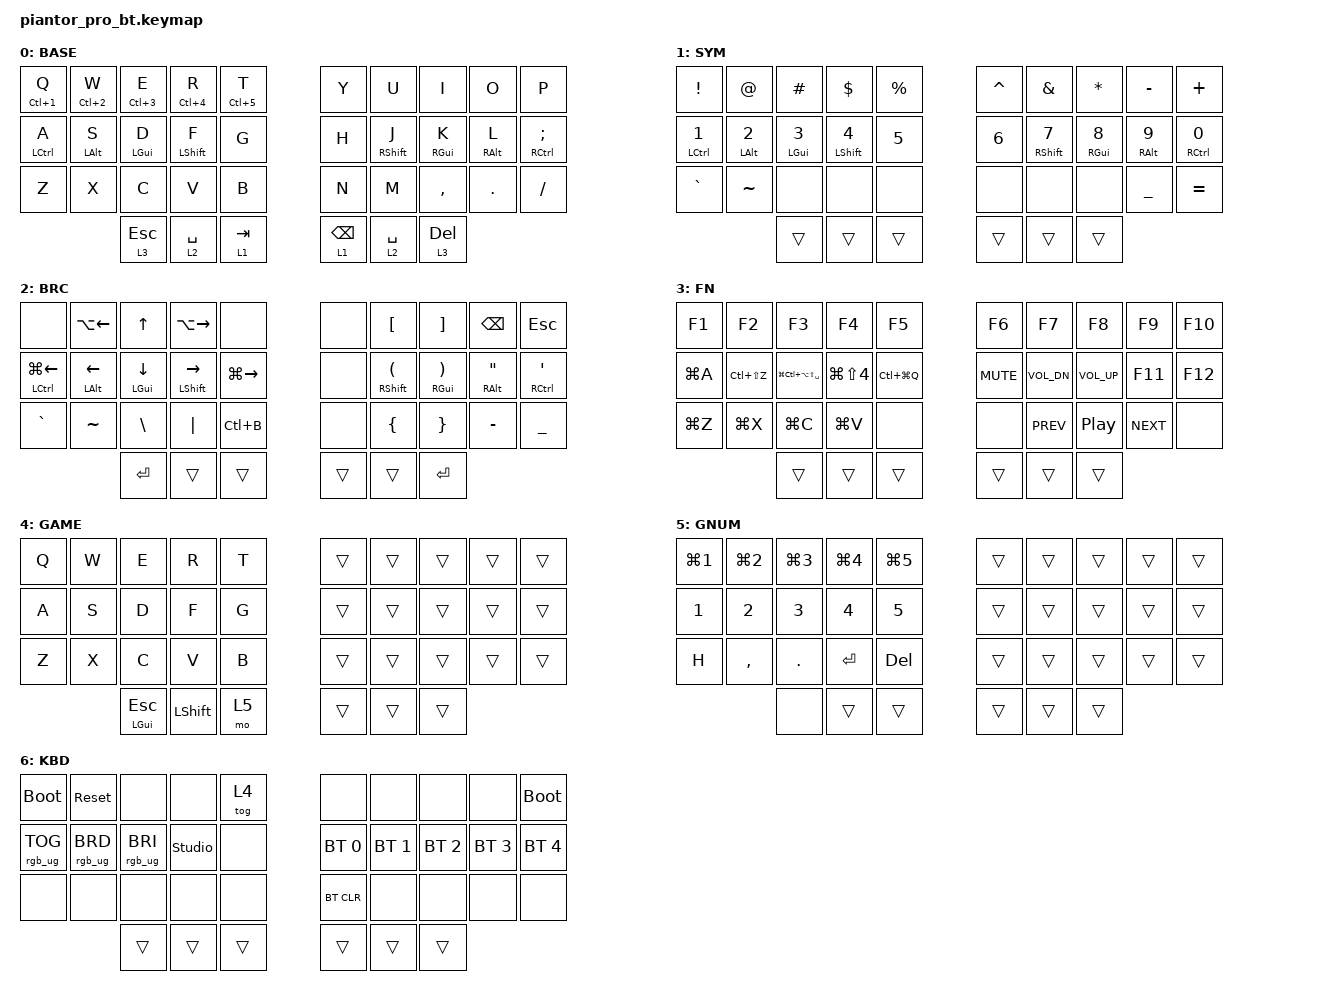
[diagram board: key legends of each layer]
/*
 * Piantor Pro BT (36-key) keymap.
 *
 * Replicates the user's kanata config: CACS home-row mods, a numbers/symbols
 * layer, a brackets/nav layer, plus thumb-enabled fn (F-keys/media/clipboard)
 * and kbd (BT/RGB/Studio/flash) layers. macOS modifiers (Cmd = LGUI).
 *
 * Uses the board's 36-key five_col_layout, so key positions are 0-35:
 *   row 0:  0- 4 left,  5- 9 right
 *   row 1: 10-14 left, 15-19 right
 *   row 2: 20-24 left, 25-29 right
 *   thumbs: 30 31 32 left, 33 34 35 right
 */

#include <behaviors.dtsi>
#include <dt-bindings/zmk/keys.h>
#include <dt-bindings/zmk/bt.h>
#include <dt-bindings/zmk/rgb.h>

// Positional hold-tap trigger lists: opposite hand + all thumbs.
#define KEYS_L 0 1 2 3 4 10 11 12 13 14 20 21 22 23 24
#define KEYS_R 5 6 7 8 9 15 16 17 18 19 25 26 27 28 29
#define THUMBS 30 31 32 33 34 35

/ {
    chosen {
        zmk,physical-layout = &five_col_layout;
    };

    behaviors {
        // Home-row mod, LEFT hand: hold = modifier, tap = letter.
        // Only triggers the hold if a RIGHT-hand or thumb key follows (positional),
        // which kills mis-holds during same-hand rolls. Replaces kanata's chord list.
        hml: home_row_mod_left {
            compatible = "zmk,behavior-hold-tap";
            #binding-cells = <2>;
            flavor = "balanced";
            tapping-term-ms = <200>;
            quick-tap-ms = <175>;
            require-prior-idle-ms = <150>;
            bindings = <&kp>, <&kp>;
            hold-trigger-key-positions = <KEYS_R THUMBS>;
            hold-trigger-on-release;
        };
        // Home-row mod, RIGHT hand: triggers only after a LEFT-hand or thumb key.
        hmr: home_row_mod_right {
            compatible = "zmk,behavior-hold-tap";
            #binding-cells = <2>;
            flavor = "balanced";
            tapping-term-ms = <200>;
            quick-tap-ms = <175>;
            require-prior-idle-ms = <150>;
            bindings = <&kp>, <&kp>;
            hold-trigger-key-positions = <KEYS_L THUMBS>;
            hold-trigger-on-release;
        };
        // Shift-only variants of hml/hmr, tuned from a USB-log session
        // (2026-09-16, ~120 F/J instances, see README "Debugging misfires"):
        //
        //  - The user's capital-I chord is F down, I down ~100-150 ms later,
        //    F up at ~170-240 ms, I up after F. Nested release almost never
        //    happens (3 of 36 successes), so the hold is decided by the timer.
        //    At 200 ms, 5 of 8 misses were F released at 170-200 ms. 175
        //    catches those; the user's overlapped "fi" rolls (file, fill,
        //    finger) release F at 115-160 ms, so they stay taps. Next knob if
        //    misses persist: 160.
        //  - No retro-tap (removed 2026-11-19): in ZMK v0.3 retro-tap withholds
        //    the hold at timeout until another KEY is pressed, so Shift never
        //    reached the host for Shift+scroll/click. Without it Shift lands
        //    at 175 ms like Cmd does at 200. Cost: a lone f/j held past 175 ms
        //    with no other key types nothing (log had lone f taps up to 200).
        //  - require-prior-idle off: 3 of 8 misses were F pressed <70 ms after
        //    a backspace/space (quick-tap verdict). The user's cross-hand rolls
        //    never nest the letter inside F, so the guard bought nothing here.
        //  - hold-preferred would fix every chord but also capitalise every
        //    overlapped roll (8 for 8 in the log): same event sequence.
        hsl: home_row_shift_left {
            compatible = "zmk,behavior-hold-tap";
            #binding-cells = <2>;
            flavor = "balanced";
            tapping-term-ms = <175>;
            quick-tap-ms = <175>;
            bindings = <&kp>, <&kp>;
            hold-trigger-key-positions = <KEYS_R THUMBS>;
            hold-trigger-on-release;
        };
        hsr: home_row_shift_right {
            compatible = "zmk,behavior-hold-tap";
            #binding-cells = <2>;
            flavor = "balanced";
            tapping-term-ms = <175>;
            quick-tap-ms = <175>;
            bindings = <&kp>, <&kp>;
            hold-trigger-key-positions = <KEYS_L THUMBS>;
            hold-trigger-on-release;
        };
        // Layer thumbs (all six): hold = layer, tap = key. Replaces stock &lt,
        // which is tap-preferred: the layer only activated after 200 ms, so a
        // quick SPACE+; for an apostrophe typed " ;". Balanced like the
        // home-row mods: the layer also wins when another key is pressed AND
        // released while the thumb is still down. Cost: a letter fully nested
        // inside a space press now lands on BRC (1 in 268 spaces in the
        // 2026-09-16 log). No positional filter: layers are used from both hands.
        lth: layer_thumb {
            compatible = "zmk,behavior-hold-tap";
            #binding-cells = <2>;
            flavor = "balanced";
            tapping-term-ms = <200>;
            bindings = <&mo>, <&kp>;
        };
        // Desktop switch on top row: tap = letter, hold = Ctrl+number.
        // Standalone hold (no second key needed), so no positional restriction;
        // tap-preferred favors the letter on quick taps.
        //
        // Tuned to be hard to trigger by accident:
        //   tapping-term-ms = 280   -> must deliberately hold ~0.28s before the
        //                              desktop switch fires (was 200, too twitchy).
        //   require-prior-idle-ms = 250 -> if any key was pressed within 0.25s,
        //                              this key resolves as a TAP (types the letter)
        //                              instead of switching. So pressing two keys
        //                              together / fast rolls just print letters and
        //                              never jump desktops — the disruptive case.
        hd: hold_desktop {
            compatible = "zmk,behavior-hold-tap";
            #binding-cells = <2>;
            flavor = "tap-preferred";
            tapping-term-ms = <280>;
            require-prior-idle-ms = <250>;
            bindings = <&kp>, <&kp>;
        };
    };

    combos {
        compatible = "zmk,combos";
        // Squeeze both outer thumbs (esc + del) -> kbd layer (6).
        // Also live on GAME (4) so the toggle back out is reachable.
        combo_kbd {
            timeout-ms = <40>;
            require-prior-idle-ms = <150>;
            key-positions = <30 35>;
            bindings = <&mo 6>;
            layers = <0 4>;
        };
    };

    keymap {
        compatible = "zmk,keymap";

        base_layer {
            display-name = "BASE";
            bindings = <
                &hd LC(N1) Q  &hd LC(N2) W  &hd LC(N3) E  &hd LC(N4) R  &hd LC(N5) T      &kp Y      &kp U         &kp I         &kp O        &kp P
                &hml LCTRL A  &hml LALT S   &hml LGUI D   &hsl LSHFT F  &kp G             &kp H      &hsr RSHFT J  &hmr RGUI K   &hmr RALT L  &hmr RCTRL SEMI
                &kp Z         &kp X         &kp C         &kp V         &kp B             &kp N      &kp M         &kp COMMA     &kp DOT      &kp FSLH
                                            &lth 3 ESC     &lth 2 SPACE   &lth 1 TAB         &lth 1 BSPC &lth 2 SPACE   &lth 3 DEL
            >;
        };

        sym_layer {
            display-name = "SYM";
            bindings = <
                &kp EXCL         &kp AT          &kp HASH        &kp DLLR         &kp PRCNT   &kp CARET  &kp AMPS         &kp ASTRK        &kp MINUS        &kp PLUS
                &hml LCTRL N1    &hml LALT N2    &hml LGUI N3    &hsl LSHFT N4    &kp N5      &kp N6     &hsr RSHFT N7    &hmr RGUI N8     &hmr RALT N9     &hmr RCTRL N0
                &kp GRAVE        &kp TILDE       &none           &none            &none       &none      &none            &none            &kp UNDER        &kp EQUAL
                                                 &trans          &trans           &trans      &trans     &trans           &trans
            >;
        };

        brc_layer {
            display-name = "BRC";
            // Outer thumbs both send enter, so enter is reachable from either hand.
            bindings = <
                &none               &kp LA(LEFT)   &kp UP          &kp LA(RIGHT)     &none          &none   &kp LBKT         &kp RBKT        &kp BSPC       &kp ESC
                &hml LCTRL LG(LEFT) &hml LALT LEFT  &hml LGUI DOWN  &hsl LSHFT RIGHT  &kp LG(RIGHT)  &none   &hsr RSHFT LPAR  &hmr RGUI RPAR  &hmr RALT DQT  &hmr RCTRL SQT
                &kp GRAVE           &kp TILDE      &kp BSLH        &kp PIPE          &kp LC(B)      &none   &kp LBRC         &kp RBRC        &kp MINUS      &kp UNDER
                                                   &kp RET         &trans            &trans         &trans  &trans           &kp RET
            >;
        };

        fn_layer {
            display-name = "FN";
            bindings = <
                &kp F1     &kp F2     &kp F3     &kp F4     &kp F5      &kp F6        &kp F7        &kp F8       &kp F9   &kp F10
                &kp LG(A)  &kp LC(LS(Z))  &kp LG(LC(LA(LS(SPACE))))  &kp LG(LS(N4))  &kp LC(LG(Q))  &kp C_MUTE    &kp C_VOL_DN  &kp C_VOL_UP  &kp F11  &kp F12
                &kp LG(Z)  &kp LG(X)  &kp LG(C)  &kp LG(V)  &none       &none         &kp C_PREV    &kp C_PP     &kp C_NEXT  &none
                                      &trans     &trans     &trans      &trans        &trans        &trans
            >;
        };

        // Toggled from KBD (T position). Left hand for an RTS (AoE2), right
        // hand on the mouse. Plain keys: no hold-tap latency, no desktop
        // switch on held letters. Right half falls through to base.
        game_layer {
            display-name = "GAME";
            bindings = <
                &kp Q  &kp W  &kp E  &kp R  &kp T      &trans  &trans  &trans  &trans  &trans
                &kp A  &kp S  &kp D  &kp F  &kp G      &trans  &trans  &trans  &trans  &trans
                &kp Z  &kp X  &kp C  &kp V  &kp B      &trans  &trans  &trans  &trans  &trans
                       &mt LGUI ESC  &kp LSHFT  &mo 5      &trans  &trans  &trans
            >;
        };

        // Held from GAME's inner thumb: top = assign control group, home =
        // select group, bottom = town center / idle units / enter / delete
        // (del on the index stretch so it is hard to hit by accident).
        gnum_layer {
            display-name = "GNUM";
            bindings = <
                &kp LG(N1)  &kp LG(N2)  &kp LG(N3)  &kp LG(N4)  &kp LG(N5)      &trans  &trans  &trans  &trans  &trans
                &kp N1      &kp N2      &kp N3      &kp N4      &kp N5          &trans  &trans  &trans  &trans  &trans
                &kp H       &kp COMMA   &kp DOT     &kp RET     &kp DEL         &trans  &trans  &trans  &trans  &trans
                                        &none       &trans      &trans          &trans  &trans  &trans
            >;
        };

        kbd_layer {
            display-name = "KBD";
            bindings = <
                &bootloader      &sys_reset       &none            &none           &tog 4  &none         &none         &none         &none         &bootloader
                &rgb_ug RGB_TOG  &rgb_ug RGB_BRD  &rgb_ug RGB_BRI  &studio_unlock  &none   &bt BT_SEL 0  &bt BT_SEL 1  &bt BT_SEL 2  &bt BT_SEL 3  &bt BT_SEL 4
                &none            &none            &none            &none           &none   &bt BT_CLR    &none         &none         &none         &none
                                                  &trans           &trans          &trans  &trans        &trans        &trans
            >;
        };
    };
};
